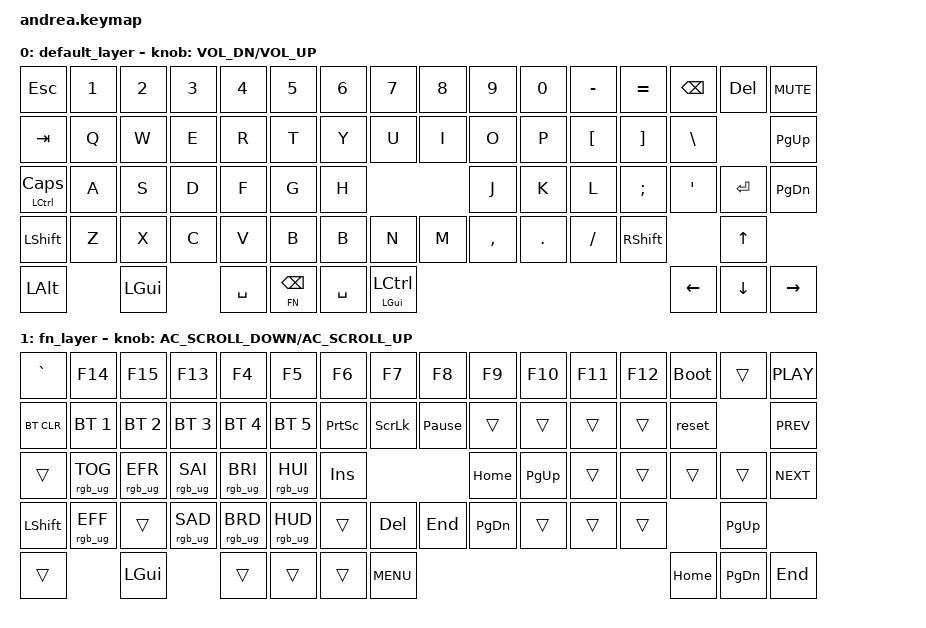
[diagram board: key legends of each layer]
#include <behaviors.dtsi>
#include <dt-bindings/zmk/keys.h>
#include <dt-bindings/zmk/bt.h>
#include <dt-bindings/zmk/outputs.h>
#include <dt-bindings/zmk/rgb.h>
#include <dt-bindings/zmk/ext_power.h>

#define FN 1

/ {
	keymap {
		compatible = "zmk,keymap";

		default_layer {
// -----------------------------------------------------------------------------------------
//   | ESC        | 1     | 2     | 3     | 4     | 5     | 6     | 7     | 8     | 9     | 0     | -     | =     | BSPC  | DEL   | PRSC  |   
//   | TAB        | Q     | W     | E     | R     | T     | Y     | U     | I     | O     | P     | [     | ]     | \     |         PGUP  |  
// |MT(LCTRL,CAPS)| A     | S     | D     | F     | G     | H     | J     | K     | L     | ;     | '     |         ENTER |         PGDN  |  
//   | SHIFT        | Z     | X     | C     | V     | B     | B     | N     | M     | ,     | .     | /     | SHIFT |         UP    |
//   | ALT       |         GUI  |  SPACE  |      LT(BSPC, 1)  |  SPACE  | MT(GUI,FN)   |                                 LEFT  | DOWN  | RIGHT |   

			bindings = <
    &kp ESC          &kp NUM_1        &kp NUM_2     &kp NUM_3     &kp NUM_4     &kp NUM_5        &kp NUM_6        &kp NUM_7        &kp NUM_8        &kp NUM_9        &kp NUM_0        &kp MINUS        &kp EQL          &kp BKSP         &kp DEL          &kp C_MUTE
    &kp TAB          &kp Q            &kp W         &kp E         &kp R         &kp T            &kp Y            &kp U            &kp I            &kp O            &kp P            &kp LBKT         &kp RBKT         &kp BSLH                         &kp PG_UP
    &mt LCTRL CAPS   &kp A            &kp S         &kp D         &kp F         &kp G            &kp H            &kp J            &kp K            &kp L            &kp SCLN         &kp QUOT                          &kp ENTER                        &kp PG_DN
    &kp LSHFT        &kp Z            &kp X         &kp C         &kp V         &kp B            &kp B            &kp N            &kp M            &kp CMMA         &kp DOT          &kp FSLH         &kp RSHFT                         &kp UP
    &kp LALT                         &kp LGUI                 &kp SPACE     &lt FN BSPC      &kp SPACE        &mt LGUI LCTRL                                                                                              &kp LEFT         &kp DOWN        &kp RIGHT
			>;
			
			sensor-bindings = <&inc_dec_kp C_VOL_DN C_VOL_UP>;
			
		};

		fn_layer {
// -----------------------------------------------------------------------------------------
//   | GRAVE | F14     | F15       | F13     | F4     | F5       | F6    | F7    | F8    | F9    | F10   | F11   | F12   | BOOTLOADER  | TRANS | PLAY |
//   | BT_CLR|BT_SEL 1| BT_SEL 2 |BT_SEL 3|BT_SEL 4| BT_SEL 5 | PSCR  | SCLK  | PAUSE | TRANS | TRANS | TRANS | TRANS | RESET       |         NEXT T|
//   |TRANS  |RGB_TOG |  RGB_EFR |RGB_SAI |RGB_BRI | RGB_HUI  | INS   | HOME  | PG_UP | TRANS | TRANS | TRANS |         TRANS       |         PREV T|
//   | SHIFT | RGB_EFF| TRANS    |RGB_SAD |RGB_BRD | RGB_HUD  | TRANS | DEL   | END   | PG_DN | TRANS | TRANS | TRANS |               PG_UP |
//   | TRANS |         GUI   |         TRANS | TRANS    |         TRANS | MENU  |                                            HOME   | PG_DN | END   |

			bindings = <
    &kp GRAVE        &kp F14           &kp F15           &kp F13          &kp F4          &kp F5            &kp F6           &kp F7           &kp F8           &kp F9           &kp F10          &kp F11          &kp F12          &bootloader      &trans         &kp C_PLAY
    &bt BT_CLR       &bt BT_SEL 1     &bt BT_SEL 2     &bt BT_SEL 3    &bt BT_SEL 4    &bt BT_SEL 5      &kp PSCRN        &kp SLCK         &kp PAUSE_BREAK  &trans           &trans           &trans           &trans           &reset                          &kp C_PREV
    &trans           &rgb_ug RGB_TOG  &rgb_ug RGB_EFR  &rgb_ug RGB_SAI &rgb_ug RGB_BRI &rgb_ug RGB_HUI   &kp INS          &kp HOME         &kp PG_UP        &trans           &trans           &trans                            &trans                          &kp C_NEXT
    &kp LSHFT        &rgb_ug RGB_EFF  &trans           &rgb_ug RGB_SAD &rgb_ug RGB_BRD &rgb_ug RGB_HUD   &trans           &kp DEL          &kp END          &kp PG_DN        &trans           &trans           &trans                            &kp PG_UP
    &trans                            &kp LGUI                         &trans          &trans        &trans           &kp C_MENU                                                                                            &kp HOME         &kp PG_DN      &kp END        
			>;

			sensor-bindings = <&inc_dec_kp C_AC_SCROLL_DOWN C_AC_SCROLL_UP>;
		};

	};
};
